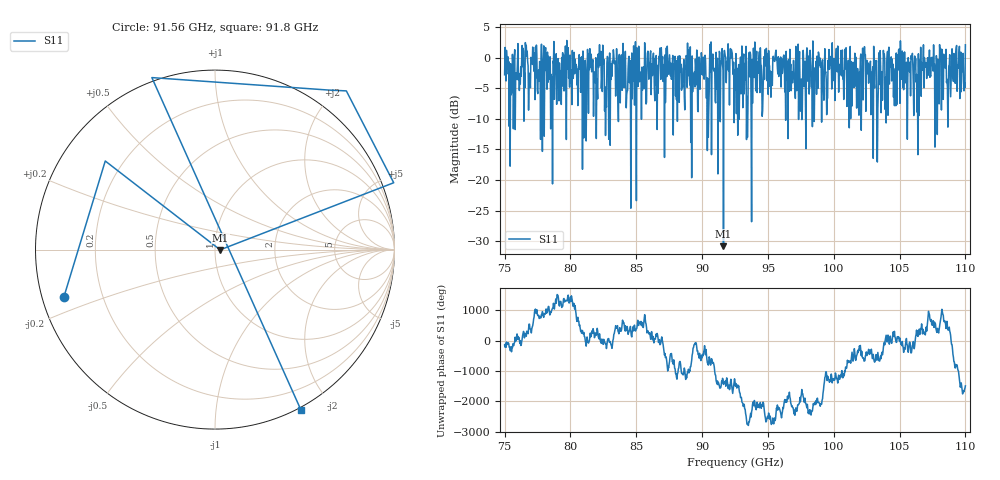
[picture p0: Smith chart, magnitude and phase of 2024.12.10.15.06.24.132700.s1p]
! Created with skrf (http://scikit-rf.org).
# GHz S RI R 50.0
!freq ReS11 ImS11
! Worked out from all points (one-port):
!   1001 points, 75 GHz to 110 GHz, reference 50 ohm
!   lowest |S11| = -30.8 dB at 91.62 GHz (marker M1), VSWR 1.06, Z = 53 - j0.142 ohm
!   |S11| at or under -10 dB: 75.34596 GHz to 75.35428 GHz (8.321 MHz wide, 0.011 % of centre); 75.40362 GHz to 75.43615 GHz (32.53 MHz wide, 0.0431 % of centre); 103.2655 GHz to 103.3432 GHz (77.67 MHz wide, 0.0752 % of centre) (the widest 3 of 58)
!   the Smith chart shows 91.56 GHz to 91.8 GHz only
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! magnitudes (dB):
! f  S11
! 75 GHz  -2.8
! 75.53 GHz  -1.5
! 76.5 GHz  -2.5
! 79.38 GHz  -2.3
! 80.7 GHz  -1.9
! 81.09 GHz  -4.9
! 81.44 GHz  -1.9
! 81.89 GHz  -4.1
! 82.28 GHz  -1.2
! 82.84 GHz  0.0
! 83.22 GHz  -0.7
! 83.75 GHz  -1.4
! 86.52 GHz  0.4
! 86.9 GHz  1.6
! 88.12 GHz  -10.4
! 91.62 GHz  -30.8
! 92.5 GHz  -1.9
! 93.17 GHz  0.6
! 93.58 GHz  0.9
! 93.97 GHz  -3.2
! 95.55 GHz  0.1
! 96.88 GHz  -4.1
! 100.4 GHz  -5.6
! 101.2 GHz  1.8
! 105.6 GHz  -3.3
! 107.4 GHz  -0.8
! 107.8 GHz  -1.3
! 110 GHz  2.1
